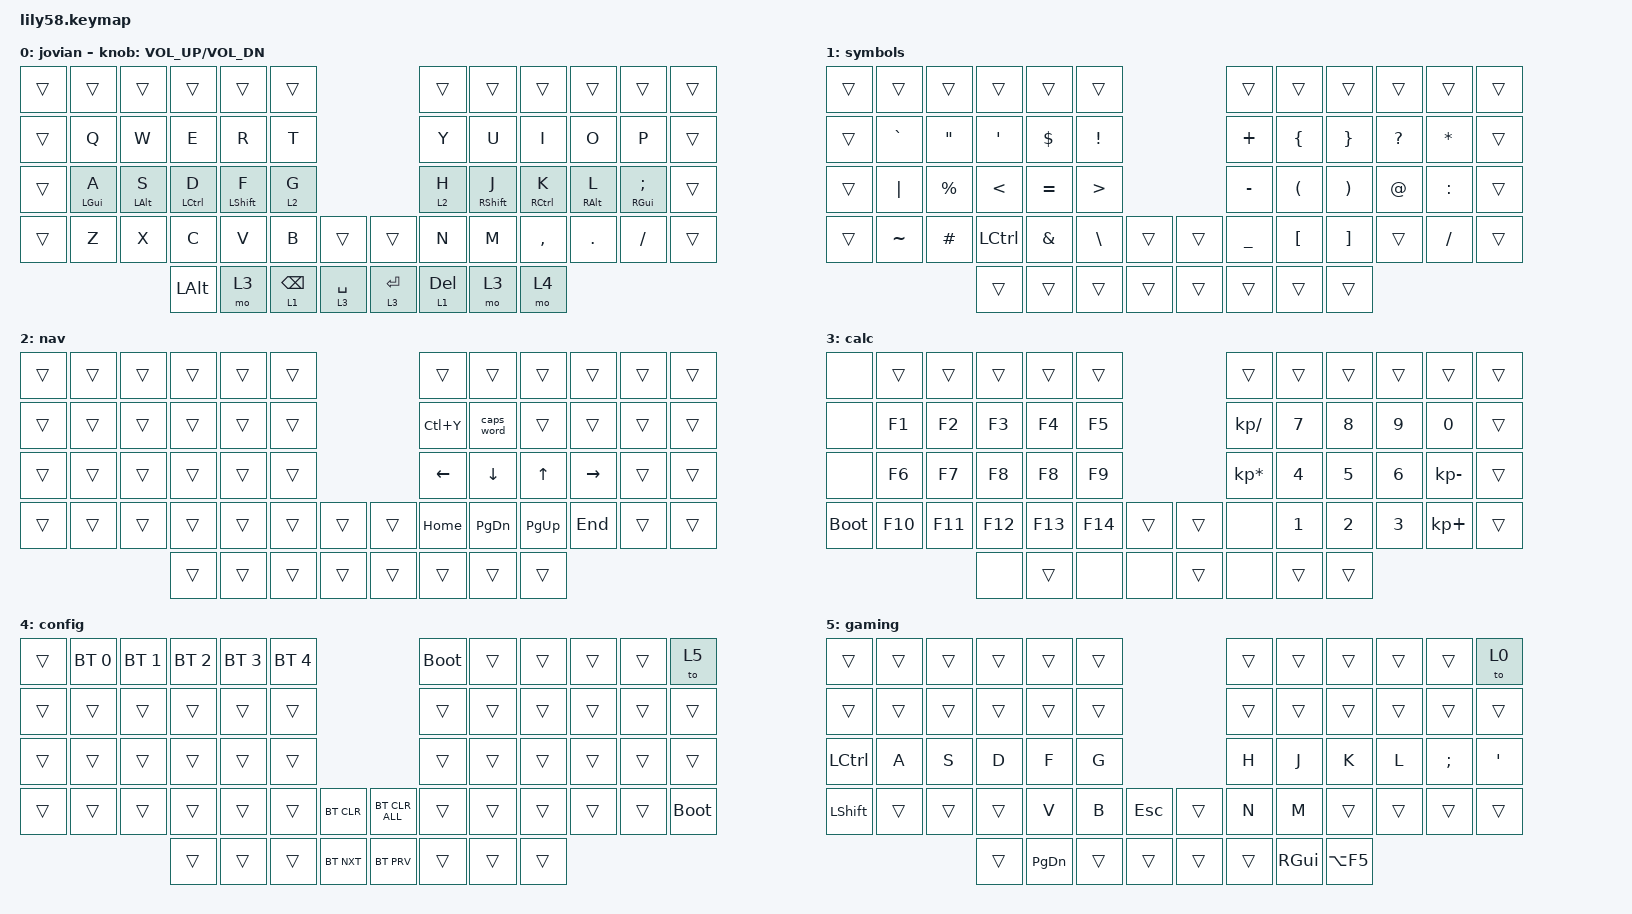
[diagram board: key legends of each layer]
/*
 * Copyright (c) 2020 The ZMK Contributors
 *
 * SPDX-License-Identifier: MIT
 */

#include <behaviors.dtsi>
#include <dt-bindings/zmk/bt.h>
#include <dt-bindings/zmk/keys.h>

/ {
    combos {
        compatible = "zmk,combos";

        copy_ss {
            bindings = <&kp PRINTSCREEN>;
            key-positions = <21 22>;
            require-prior-idle-ms = <280>;
            layers = <1>;
        };

        tab {
            bindings = <&kp TAB>;
            key-positions = <14 13>;
            require-prior-idle-ms = <300>;
        };

        hr_esc {
            bindings = <&kp ESCAPE>;
            key-positions = <28 27>;
            require-prior-idle-ms = <280>;
        };

        tab_back {
            bindings = <&kp LS(TAB)>;
            key-positions = <14 13>;
            require-prior-idle-ms = <280>;
            layers = <1>;
        };

        save_ss {
            bindings = <&kp LG(PRINTSCREEN)>;
            key-positions = <34 22>;
            require-prior-idle-ms = <280>;
        };

        secret_space {
            bindings = <&kp SPACE>;
            key-positions = <31 32>;
            layers = <1>;
        };
    };

    behaviors {
        rolltap: rolltap {
            compatible = "zmk,behavior-hold-tap";
            label = "ROLLTAP";
            bindings = <&kp>, <&kp>;

            #binding-cells = <2>;
            flavor = "tap-preferred";
            require-prior-idle-ms = <125>;
            tapping-term-ms = <200>;
            quick-tap-ms = <175>;
            retro-tap;
        };

        rolltap_layer: rolltap_layer {
            compatible = "zmk,behavior-hold-tap";
            label = "ROLLTAP_LAYER";
            bindings = <&mo>, <&kp>;

            #binding-cells = <2>;
            flavor = "balanced";
            require-prior-idle-ms = <150>;
            tapping-term-ms = <280>;
            quick-tap-ms = <175>;
            hold-trigger-on-release;
        };

        rolltap_left_trigger: rolltap_left_trigger {
            compatible = "zmk,behavior-hold-tap";
            label = "ROLLTAP_LEFT_TRIGGER";
            bindings = <&kp>, <&kp>;

            #binding-cells = <2>;
            flavor = "balanced";
            require-prior-idle-ms = <150>;
            tapping-term-ms = <250>;
            quick-tap-ms = <175>;
            hold-trigger-key-positions = <18 19 20 21 22 23 30 31 32 33 34 35 43 44 45 46 47 48 49 54 55 56 57 6 7 8 9 10 11 18 19 20 21 22 24 25>;
            hold-trigger-on-release;
        };

        rolltap_right_trigger: rolltap_right_trigger {
            compatible = "zmk,behavior-hold-tap";
            label = "ROLLTAP_RIGHT_TRIGGER";
            bindings = <&kp>, <&kp>;

            #binding-cells = <2>;
            flavor = "balanced";
            require-prior-idle-ms = <125>;
            tapping-term-ms = <280>;
            quick-tap-ms = <175>;
            hold-trigger-key-positions = <0 1 2 3 4 5 12 13 14 15 16 17 24 25 26 27 28 29 36 37 38 39 40 41 42 50 51 52 53 34 35>;
            hold-trigger-on-release;
        };

        hml: hml {
            compatible = "zmk,behavior-hold-tap";
            label = "HML";
            bindings = <&kp>, <&kp>;

            #binding-cells = <2>;
            tapping-term-ms = <280>;
            quick-tap-ms = <175>;
            require-prior-idle-ms = <150>;
            hold-trigger-key-positions = <6 7 8 9 10 11 18 19 20 21 22 23 30 31 32 33 34 35 43 44 45 46 47 48 49 54 55 56 57>;
            flavor = "balanced";
            hold-trigger-on-release;
        };

        hmr: hmr {
            compatible = "zmk,behavior-hold-tap";
            label = "HMR";
            bindings = <&kp>, <&kp>;

            #binding-cells = <2>;
            tapping-term-ms = <280>;
            quick-tap-ms = <175>;
            require-prior-idle-ms = <150>;
            flavor = "balanced";
            hold-trigger-on-release;
            hold-trigger-key-positions = <0 1 2 3 4 5 12 13 14 15 16 17 24 25 26 27 28 29 36 37 38 39 40 41 42 50 51 52 53>;
        };

        pcm_l: pcm_l {
            compatible = "zmk,behavior-hold-tap";
            label = "PCM_L";
            bindings = <&mo>, <&kp>;

            #binding-cells = <2>;
            flavor = "balanced";
            require-prior-idle-ms = <150>;
            tapping-term-ms = <280>;
            quick-tap-ms = <175>;
            hold-trigger-on-release;
            hold-trigger-key-positions = <6 7 8 9 10 11 18 19 20 21 22 23 30 31 32 33 34 35 44 45 46 47 48 49 54 55 56 57 43>;
        };

        pcm_r: pcm_r {
            compatible = "zmk,behavior-hold-tap";
            label = "PCM_R";
            bindings = <&mo>, <&kp>;

            #binding-cells = <2>;
            flavor = "balanced";
            require-prior-idle-ms = <150>;
            tapping-term-ms = <280>;
            quick-tap-ms = <175>;
            hold-trigger-on-release;
            hold-trigger-key-positions = <0 1 2 3 4 5 12 13 14 15 16 17 24 25 26 27 28 29 36 37 38 39 40 41 42 50 51 52 53>;
        };
    };

    macros {
        fat_arrow: arrow_func {
            compatible = "zmk,behavior-macro";
            #binding-cells = <0>;
            bindings = <&kp EQUAL &kp GREATER_THAN>;
            label = "ARROW_FUNC";
        };
    };

    keymap {
        compatible = "zmk,keymap";

        base {
            // ------------------------------------------------------------------------------------------------------------
            // |  ESC  |  1  |  2  |  3   |  4   |  5   |                   |  6   |  7    |  8    |  9   |   0   |   `   |
            // |  TAB  |  Q  |  W  |  E   |  R   |  T   |                   |  Y   |  U    |  I    |  O   |   P   |   -   |
            // |  CTRL |  A  |  S  |  D   |  F   |  G   |                   |  H   |  J    |  K    |  L   |   ;   |   '   |
            // | SHIFT |  Z  |  X  |  C   |  V   |  B   |   "["  |  |  "]"  |  N   |  M    |  ,    |  .   |   /   | SHIFT |
            //                     | ALT  | GUI  | LOWER|  SPACE |  | ENTER | RAISE| BSPC  | GUI   |

            display-name = "jovian";
            bindings = <
&trans  &trans           &trans           &trans               &trans             &trans                                                &trans        &trans              &trans                &trans            &trans                    &trans
&trans  &kp Q            &kp W            &kp E                &kp R              &kp T                                                 &kp Y         &kp U               &kp I                 &kp O             &kp P                     &trans
&trans  &hml LEFT_GUI A  &hml LEFT_ALT S  &hml LEFT_CONTROL D  &hml LEFT_SHIFT F  &pcm_l 2 G                                            &pcm_r 2 H    &hmr RIGHT_SHIFT J  &hmr RIGHT_CONTROL K  &hmr RIGHT_ALT L  &hmr RIGHT_GUI SEMICOLON  &trans
&trans  &kp Z            &kp X            &kp C                &kp V              &kp B               &trans            &trans          &kp N         &kp M               &kp COMMA             &kp DOT           &kp FSLH                  &trans
                                          &kp LALT             &mo 3              &pcm_l 1 BACKSPACE  &pcm_l 3 SPACE    &pcm_r 3 ENTER  &pcm_r 1 DEL  &mo 3               &mo 4
            >;

            sensor-bindings = <&inc_dec_kp C_VOL_UP C_VOL_DN>;
        };

        symbols {
            bindings = <
&trans  &trans     &trans             &trans         &trans         &trans                              &trans          &trans                &trans                 &trans        &trans     &trans
&trans  &kp GRAVE  &kp DOUBLE_QUOTES  &kp SQT        &kp DOLLAR     &kp EXCLAMATION                     &kp PLUS        &kp LEFT_BRACE        &kp RIGHT_BRACE        &kp QUESTION  &kp STAR   &trans
&trans  &kp PIPE   &kp PERCENT        &kp LESS_THAN  &kp EQUAL      &kp GREATER_THAN                    &kp MINUS       &kp LEFT_PARENTHESIS  &kp RIGHT_PARENTHESIS  &kp AT_SIGN   &kp COLON  &trans
&trans  &kp TILDE  &kp HASH           &kp LCTRL      &kp AMPERSAND  &kp BACKSLASH     &trans    &trans  &kp UNDERSCORE  &kp LEFT_BRACKET      &kp RIGHT_BRACKET      &trans        &kp SLASH  &trans
                                      &trans         &trans         &trans            &trans    &trans  &trans          &trans                &trans
            >;

            label = "symbols";
        };

        nav {
            bindings = <
&trans  &trans  &trans  &trans  &trans  &trans                    &trans          &trans      &trans        &trans     &trans  &trans
&trans  &trans  &trans  &trans  &trans  &trans                    &kp LC(Y)       &caps_word  &trans        &trans     &trans  &trans
&trans  &trans  &trans  &trans  &trans  &trans                    &kp LEFT_ARROW  &kp DOWN    &kp UP_ARROW  &kp RIGHT  &trans  &trans
&trans  &trans  &trans  &trans  &trans  &trans  &trans    &trans  &kp HOME        &kp PG_DN   &kp PG_UP     &kp END    &trans  &trans
                        &trans  &trans  &trans  &trans    &trans  &trans          &trans      &trans
            >;

            label = "nav";
        };

        numbers {
            bindings = <
&none        &trans   &trans   &trans   &trans   &trans                     &trans           &trans        &trans        &trans        &trans        &trans
&none        &kp F1   &kp F2   &kp F3   &kp F4   &kp F5                     &kp KP_SLASH     &kp N7        &kp N8        &kp N9        &kp N0        &trans
&none        &kp F6   &kp F7   &kp F8   &kp F8   &kp F9                     &kp KP_MULTIPLY  &kp NUMBER_4  &kp N5        &kp NUMBER_6  &kp KP_MINUS  &trans
&bootloader  &kp F10  &kp F11  &kp F12  &kp F13  &kp F14  &trans    &trans  &none            &kp NUMBER_1  &kp NUMBER_2  &kp N3        &kp KP_PLUS   &trans
                               &none    &trans   &none    &none     &trans  &none            &trans        &trans
            >;

            label = "calc";
        };

        bluetooth {
            bindings = <
&trans  &bt BT_SEL 0  &bt BT_SEL 1  &bt BT_SEL 2  &bt BT_SEL 3  &bt BT_SEL 4                                &bootloader  &trans  &trans  &trans  &trans  &to 5
&trans  &trans        &trans        &trans        &trans        &trans                                      &trans       &trans  &trans  &trans  &trans  &trans
&trans  &trans        &trans        &trans        &trans        &trans                                      &trans       &trans  &trans  &trans  &trans  &trans
&trans  &trans        &trans        &trans        &trans        &trans        &bt BT_CLR    &bt BT_CLR_ALL  &trans       &trans  &trans  &trans  &trans  &bootloader
                                    &trans        &trans        &trans        &bt BT_NXT    &bt BT_PRV      &trans       &trans  &trans
            >;

            label = "config";
        };

        gaming {
            bindings = <
&trans            &trans  &trans  &trans  &trans         &trans                        &trans  &trans         &trans      &trans  &trans         &to 0
&trans            &trans  &trans  &trans  &trans         &trans                        &trans  &trans         &trans      &trans  &trans         &trans
&kp LEFT_CONTROL  &kp A   &kp S   &kp D   &kp F          &kp G                         &kp H   &kp J          &kp K       &kp L   &kp SEMICOLON  &kp SQT
&kp LSHIFT        &trans  &trans  &trans  &kp V          &kp B   &kp ESCAPE    &trans  &kp N   &kp M          &trans      &trans  &trans         &trans
                                  &trans  &kp PAGE_DOWN  &trans  &trans        &trans  &trans  &kp RIGHT_GUI  &kp LA(F5)
            >;
        };
    };
};
